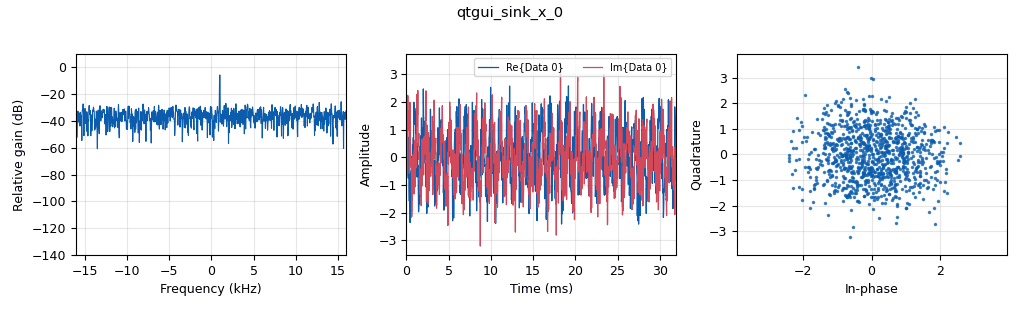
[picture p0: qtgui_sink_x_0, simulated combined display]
options:
  parameters:
    author: Alekh
    generate_options: qt_gui
    id: Sample_Work
    output_language: python
    title: General
  states: {}

blocks:
- name: samp_rate
  id: variable
  parameters:
    value: '32000'
  states: {}
- name: analog_noise_source_x_0
  id: analog_noise_source_x
  parameters:
    amp: '1'
    noise_type: analog.GR_GAUSSIAN
    seed: '0'
    type: complex
  states: {}
- name: analog_sig_source_x_0
  id: analog_sig_source_x
  parameters:
    amp: '1'
    freq: '1000'
    offset: '0'
    phase: '0'
    samp_rate: samp_rate
    type: complex
    waveform: analog.GR_COS_WAVE
  states: {}
- name: blocks_add_xx_0
  id: blocks_add_xx
  parameters:
    type: complex
  states: {}
- name: blocks_throttle_0
  id: blocks_throttle
  parameters:
    samples_per_second: samp_rate
    type: complex
  states: {}
- name: qtgui_sink_x_0
  id: qtgui_sink_x
  parameters:
    bw: samp_rate
    fc: '0'
    fftsize: '1024'
    type: complex
    wintype: firdes.WIN_HANN
  states: {}

connections:
- [analog_noise_source_x_0, '0', blocks_add_xx_0, '1']
- [analog_sig_source_x_0, '0', blocks_throttle_0, '0']
- [blocks_add_xx_0, '0', qtgui_sink_x_0, '0']
- [blocks_throttle_0, '0', blocks_add_xx_0, '0']

metadata:
  file_format: 1
